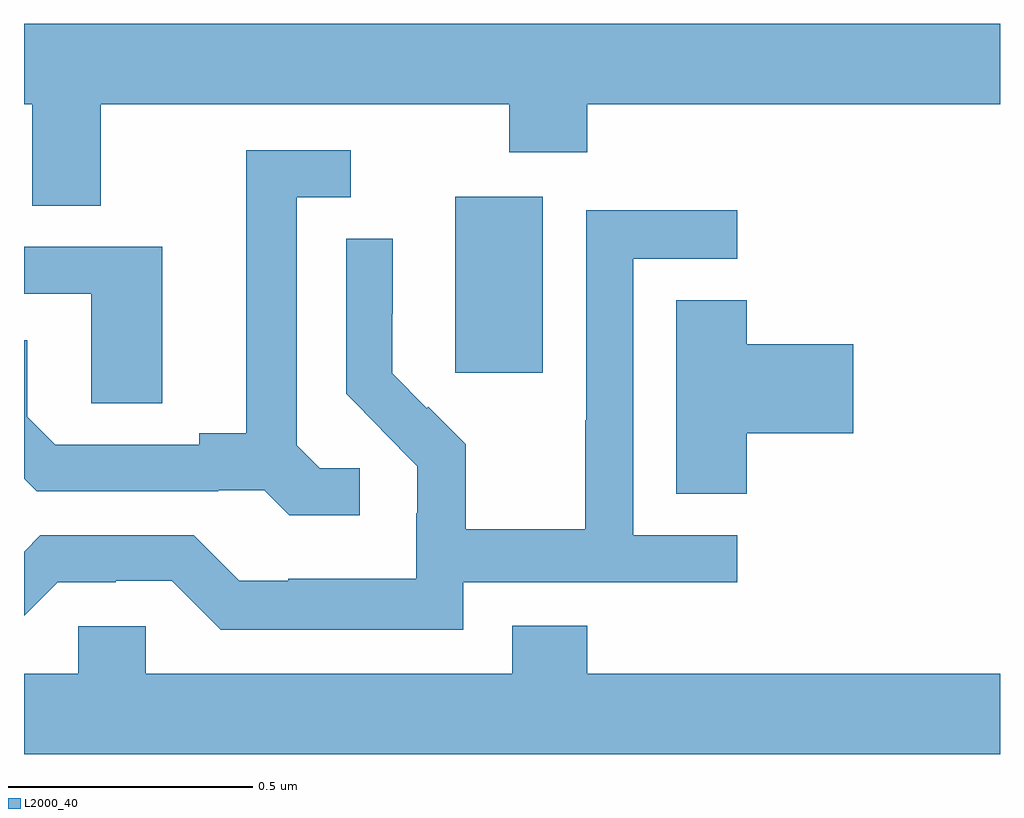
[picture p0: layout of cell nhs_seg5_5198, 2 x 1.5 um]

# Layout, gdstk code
import gdstk
lib = gdstk.Library(unit=1e-6, precision=1e-09)
def R(c, l, rs):  # rectangles x0, y0, x1, y1
    for r in rs: c.add(gdstk.rectangle(r[:2], r[2:], *l))
def P(c, l, *ps):  # polygons
    for p in ps: c.add(gdstk.Polygon(p, *l))
L2000_40 = (2000, 40)

nhs_seg5_5198 = lib.new_cell('nhs_seg5_5198')
R(nhs_seg5_5198, L2000_40, [(180.884,858.873,181.063,859.234)])
P(nhs_seg5_5198, L2000_40, [(180.157,859.424),(180.994,859.424),(180.994,859.325),(181.154,859.325),(181.154,859.424),(182,859.424),(182,859.588),(180,859.588),(180,859.424),(180.017,859.424),(180.017,859.216),(180.157,859.216)],
  [(180.688,858.678),(180.606,858.678),(180.559,858.725),(180.559,859.233),(180.67,859.233),(180.67,859.329),(180.455,859.329),(180.455,858.749),(180.359,858.749),(180.359,858.726),(180.064,858.726),(180.007,858.783),(180.007,858.94),(180,858.94),(180,858.656),(180.026,858.63),(180.398,858.63),(180.398,858.633),(180.492,858.633),(180.544,858.581),(180.688,858.581)],
  [(180.9,858.444),(181.462,858.444),(181.462,858.54),(181.248,858.54),(181.248,859.107),(181.462,859.107),(181.462,859.206),(181.152,859.206),(181.152,858.776),(181.15,858.776),(181.15,858.553),(180.905,858.553),(180.905,858.727),(180.828,858.804),(180.825,858.801),(180.755,858.872),(180.755,858.994),(180.756,858.994),(180.756,859.148),(180.66,859.148),(180.66,858.83),(180.733,858.757),(180.732,858.756),(180.806,858.682),(180.806,858.585),(180.804,858.585),(180.804,858.451),(180.541,858.451),(180.541,858.447),(180.441,858.447),(180.348,858.54),(180.033,858.54),(180,858.507),(180,858.375),(180.069,858.444),(180.188,858.444),(180.188,858.447),(180.303,858.447),(180.403,858.347),(180.9,858.347)],
  [(180.283,859.131),(180,859.131),(180,859.035),(180.138,859.035),(180.138,858.811),(180.283,858.811)],
  [(181.481,858.749),(181.699,858.749),(181.699,858.932),(181.481,858.932),(181.481,859.022),(181.337,859.022),(181.337,858.625),(181.481,858.625)],
  [(182,858.256),(181.154,858.256),(181.154,858.355),(181.001,858.355),(181.001,858.256),(180.249,858.256),(180.249,858.354),(180.111,858.354),(180.111,858.256),(180,858.256),(180,858.092),(182,858.092)])

lib.write_gds('nhs_seg5_5198.gds')
